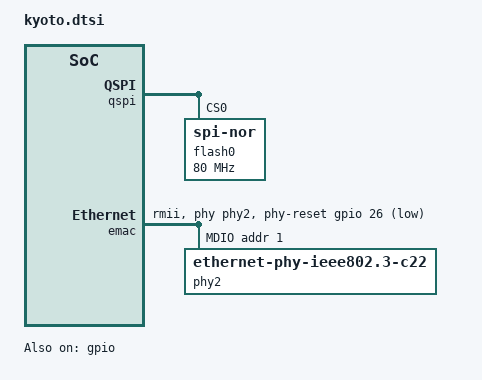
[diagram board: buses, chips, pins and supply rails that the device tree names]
// SPDX-License-Identifier: GPL-2.0+
/*
 * Augentix Kyoto SoC (HC1703, HC1705, HC1715, HC1723, HC1725, HC1753, HC1783S).
 * Cortex-A7, armv7. The v2016.03 tree names it hc1703_1723_1753_1783s.
 *
 * Copyright (C) 2026 Augentix Inc.
 */

#include <dt-bindings/gpio/gpio.h>

/ {
	compatible = "augentix,kyoto";
	#address-cells = <1>;
	#size-cells = <1>;

	cpus {
		#address-cells = <1>;
		#size-cells = <0>;

		cpu0: cpu@0 {
			device_type = "cpu";
			compatible = "arm,cortex-a7";
			reg = <0>;
		};
	};

	soc {
		compatible = "simple-bus";
		#address-cells = <1>;
		#size-cells = <1>;
		ranges;

		gic: interrupt-controller@84001000 {
			compatible = "arm,cortex-a7-gic";
			#interrupt-cells = <3>;
			#address-cells = <0>;
			interrupt-controller;
			reg = <0x84001000 0x1000>,	/* distributor */
			      <0x84002000 0x1000>,	/* cpu interface */
			      <0x84004000 0x2000>,	/* virtual interface control */
			      <0x84006000 0x2000>;	/* virtual cpu interface */
		};

		timer: timer@80050000 {
			compatible = "augentix,timer";
			reg = <0x80050000 0x1000>;
			status = "disabled";
		};


		/* Five windows, in driver index order. */
		qspi: spi@83610000 {
			compatible = "augentix,qspi";
			reg = <0x83610000 0x1000>,
			      <0x83620000 0x1000>,
			      <0x83630000 0x1000>,
			      <0x81300058 0x4>,
			      <0x8000081c 0x10>;
			reg-names = "ctrl", "read", "write", "darb", "syscfg";
			#address-cells = <1>;
			#size-cells = <0>;
			status = "okay";

			flash0: flash@0 {
				compatible = "jedec,spi-nor";
				reg = <0>;
				spi-max-frequency = <80000000>;
				spi-rx-bus-width = <4>;
				spi-tx-bus-width = <4>;
				m25p,fast-read;
				status = "okay";
			};
		};

		sdc0: mmc@818a0000 {
			compatible = "augentix,sdc";
			reg = <0x818a0000 0x200>,
			      <0x81340000 0x3c>;
			bus-width = <4>;
			clock-frequency = <100000000>;
			fifo-mode;
			status = "disabled";
		};

		gpio: gpio@80001800 {
			compatible = "augentix,gpio";
			reg = <0x80001800 0x200>;
			#gpio-cells = <2>;
			gpio-controller;
			status = "okay";
		};

		emac: ethernet@81880000 {
			compatible = "augentix,kyoto-eqos";
			/* Linux states one range; EQOS_CFG is U-Boot's alone. */
			reg = <0x81880000 0x4000>,
			      <0x81360000 0x50>;
			phy-mode = "rmii";
			phy-reset-gpios = <&gpio 26 GPIO_ACTIVE_HIGH>;
			phy-handle = <&phy2>;
			snps,write-requests = <1>;
			snps,read-requests = <1>;
			snps,burst-map = <0x7>;
			snps,txpbl = <8>;
			snps,rxpbl = <2>;
			status = "okay";

			mdio {
				#address-cells = <1>;
				#size-cells = <0>;

				phy2: phy@1 {
					compatible = "ethernet-phy-ieee802.3-c22";
					reg = <1>;
				};
			};
		};
	};

};
